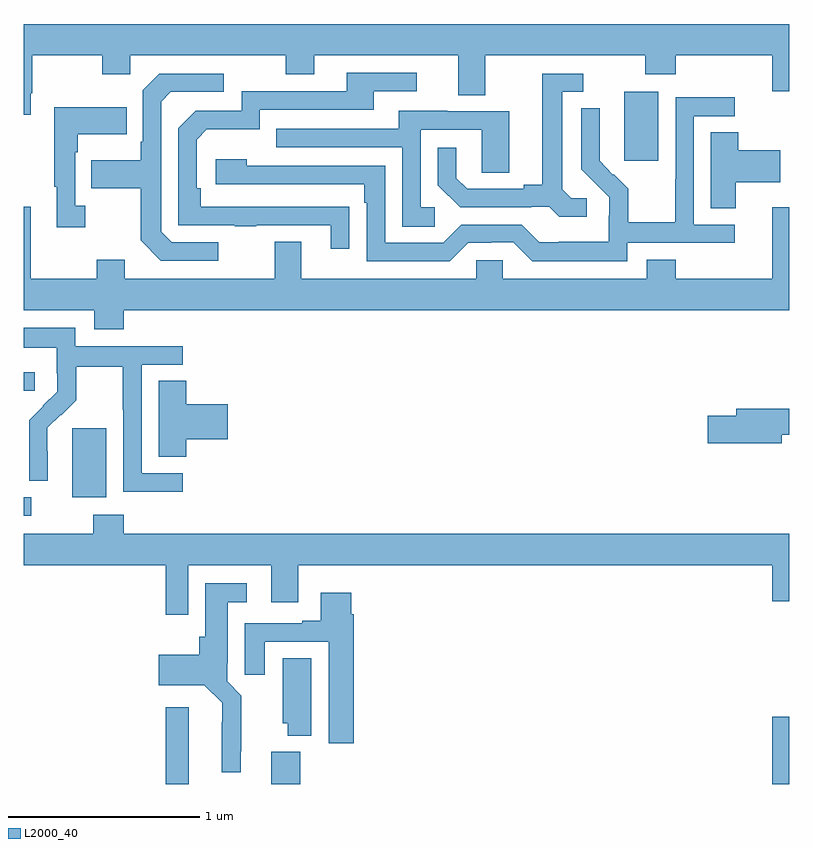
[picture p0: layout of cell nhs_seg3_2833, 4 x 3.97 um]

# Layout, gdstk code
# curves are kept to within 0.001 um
import gdstk
lib = gdstk.Library(unit=1e-6, precision=1e-09)
def R(c, l, rs):  # rectangles x0, y0, x1, y1
    for r in rs: c.add(gdstk.rectangle(r[:2], r[2:], *l))
def P(c, l, *ps):  # polygons
    for p in ps: c.add(gdstk.Polygon(p, *l))
L2000_40 = (2000, 40)

nhs_seg3_2833 = lib.new_cell('nhs_seg3_2833')
R(nhs_seg3_2833, L2000_40, [(257.741,738.4,257.863,738.802), (258.293,738.4,258.446,738.568), (260.912,738.4,261,738.751), (257,739.803,257.038,739.899), (257.252,739.898,257.431,740.259), (257,740.454,257.056,740.551), (260.138,741.657,260.317,742.018)])
P(nhs_seg3_2833, L2000_40, [(257.035,742.009),(257.043,742.009),(257.043,742.208),(257.41,742.208),(257.41,742.109),(257.556,742.109),(257.556,742.208),(258.37,742.208),(258.37,742.109),(258.517,742.109),(258.517,742.208),(259.271,742.208),(259.271,742),(259.411,742),(259.411,742.208),(260.248,742.208),(260.248,742.109),(260.408,742.109),(260.408,742.208),(260.912,742.208),(260.912,742.02),(261,742.02),(261,742.372),(257,742.372),(257,741.897),(257.035,741.897)],
  [(258.701,741.416),(257.924,741.417),(257.924,741.514),(257.904,741.514),(257.904,741.768),(257.957,741.821),(258.234,741.821),(258.234,741.924),(258.829,741.924),(258.829,742.02),(259.054,742.02),(259.054,742.116),(258.689,742.116),(258.689,742.02),(258.138,742.02),(258.138,741.918),(257.898,741.918),(257.808,741.828),(257.808,741.321),(258.103,741.321),(258.103,741.316),(258.215,741.316),(258.215,741.321),(258.605,741.321),(258.605,741.198),(258.701,741.198)],
  [(259.942,741.462),(259.86,741.462),(259.813,741.509),(259.813,742.017),(259.924,742.017),(259.924,742.113),(259.709,742.113),(259.709,741.533),(259.613,741.533),(259.613,741.51),(259.318,741.51),(259.261,741.567),(259.261,741.724),(259.164,741.724),(259.164,741.53),(259.28,741.414),(259.652,741.414),(259.652,741.417),(259.746,741.417),(259.798,741.365),(259.942,741.365)],
  [(258.016,741.231),(257.772,741.231),(257.718,741.285),(257.718,741.966),(257.769,742.017),(258.046,742.017),(258.046,742.113),(257.709,742.113),(257.622,742.026),(257.622,741.757),(257.61,741.757),(257.61,741.661),(257.353,741.661),(257.353,741.514),(257.61,741.514),(257.61,741.241),(257.715,741.135),(258.016,741.135)],
  [(260.154,741.228),(260.716,741.228),(260.716,741.324),(260.502,741.324),(260.502,741.891),(260.716,741.891),(260.716,741.99),(260.406,741.99),(260.406,741.56),(260.404,741.56),(260.404,741.337),(260.159,741.337),(260.159,741.511),(260.082,741.588),(260.079,741.585),(260.009,741.656),(260.01,741.932),(259.914,741.932),(259.914,741.614),(260.06,741.466),(260.06,741.369),(260.058,741.369),(260.058,741.235),(259.795,741.235),(259.795,741.231),(259.695,741.231),(259.602,741.324),(259.287,741.324),(259.191,741.228),(258.888,741.228),(258.888,741.63),(258.164,741.63),(258.164,741.664),(258.003,741.664),(258.003,741.534),(258.779,741.534),(258.779,741.437),(258.792,741.437),(258.792,741.132),(259.227,741.132),(259.323,741.228),(259.442,741.228),(259.442,741.231),(259.557,741.231),(259.657,741.131),(260.154,741.131)],
  [(257.32,741.422),(257.268,741.422),(257.268,741.701),(257.281,741.701),(257.281,741.797),(257.537,741.797),(257.537,741.937),(257.16,741.937),(257.16,741.521),(257.171,741.521),(257.171,741.309),(257.32,741.309)],
  [(259.147,741.414),(259.074,741.414),(259.074,741.819),(259.392,741.819),(259.392,741.595),(259.537,741.595),(259.537,741.915),(259.213,741.915),(259.213,741.919),(258.959,741.919),(258.959,741.825),(258.319,741.825),(258.319,741.729),(258.978,741.729),(258.978,741.313),(259.147,741.313)],
  [(260.722,741.545),(260.953,741.545),(260.953,741.711),(260.735,741.711),(260.735,741.806),(260.591,741.806),(260.591,741.409),(260.722,741.409)],
  [(257.522,740.876),(261,740.876),(261,741.415),(260.912,741.415),(260.912,741.04),(260.408,741.04),(260.408,741.139),(260.255,741.139),(260.255,741.04),(259.503,741.04),(259.503,741.138),(259.365,741.138),(259.365,741.04),(258.451,741.04),(258.451,741.235),(258.311,741.235),(258.311,741.04),(257.527,741.04),(257.527,741.139),(257.38,741.139),(257.38,741.04),(257.035,741.04),(257.035,741.418),(257,741.418),(257,740.876),(257.369,740.876),(257.369,740.777),(257.522,740.777)],
  [(257.83,740.025),(257.616,740.025),(257.616,740.592),(257.83,740.592),(257.83,740.688),(257.268,740.688),(257.268,740.785),(257,740.785),(257,740.681),(257.172,740.681),(257.172,740.547),(257.174,740.547),(257.174,740.45),(257.028,740.302),(257.028,739.984),(257.124,739.984),(257.123,740.261),(257.193,740.331),(257.196,740.328),(257.273,740.405),(257.273,740.58),(257.517,740.58),(257.517,740.356),(257.52,740.356),(257.52,739.927),(257.83,739.927)],
  [(257.849,740.201),(258.067,740.201),(258.067,740.384),(257.849,740.384),(257.849,740.507),(257.705,740.507),(257.705,740.11),(257.849,740.11)],
  [(260.962,740.224),(261,740.224),(261,740.36),(260.723,740.36),(260.723,740.324),(260.574,740.324),(260.574,740.182),(260.962,740.182)],
  [(257.859,739.544),(258.293,739.544),(258.293,739.35),(258.433,739.35),(258.433,739.544),(260.912,739.544),(260.912,739.356),(261,739.356),(261,739.708),(257.522,739.708),(257.522,739.807),(257.362,739.807),(257.362,739.708),(257,739.708),(257,739.544),(257.743,739.544),(257.743,739.284),(257.859,739.284)],
  [(258.133,738.571),(258.137,738.571),(258.137,738.862),(258.063,738.936),(258.063,739.03),(258.067,739.03),(258.067,739.349),(258.166,739.349),(258.166,739.45),(257.948,739.45),(257.948,739.17),(257.918,739.17),(257.918,739.075),(257.706,739.075),(257.706,738.917),(257.943,738.917),(258.036,738.824),(258.035,738.461),(258.133,738.461)],
  [(258.725,739.286),(258.712,739.286),(258.712,739.399),(258.551,739.399),(258.551,739.252),(258.455,739.252),(258.455,739.239),(258.155,739.239),(258.155,738.972),(258.259,738.972),(258.259,739.143),(258.593,739.143),(258.593,738.612),(258.725,738.612)],
  [(258.502,739.058),(258.353,739.058),(258.353,738.717),(258.38,738.717),(258.38,738.653),(258.502,738.653)])

lib.write_gds('nhs_seg3_2833.gds')
